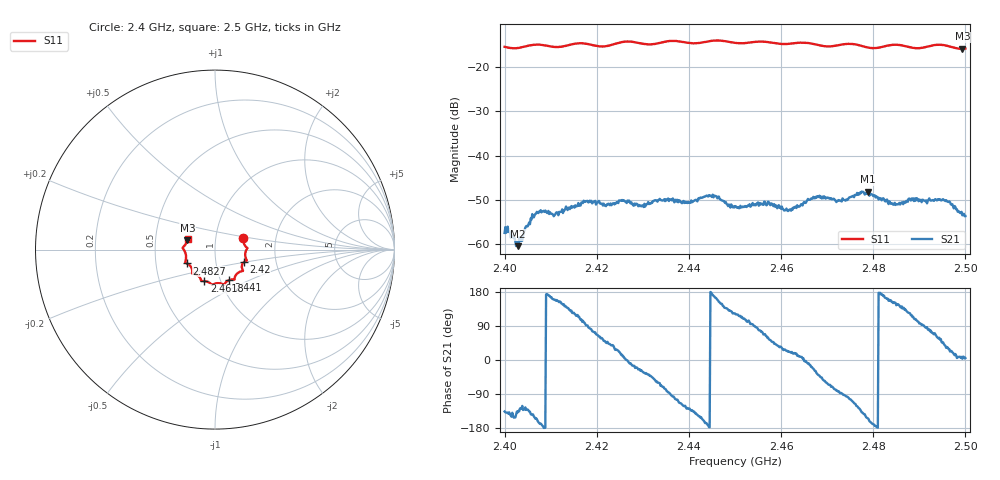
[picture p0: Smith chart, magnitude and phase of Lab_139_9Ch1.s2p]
# Hz S RI R 50
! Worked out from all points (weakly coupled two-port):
!   601 points, 2.4 GHz to 2.5 GHz, reference 50 ohm
!   highest |S21| = -48.15 dB at 2.4788 GHz (marker M1); lowest = -60.5 dB at 2.4028 GHz (marker M2)
!   lowest |S11| = -15.8 dB at 2.4993 GHz (marker M3), VSWR 1.39, Z = 36.5 + j3.84 ohm
!   |S11| at or under -10 dB: start of sweep to end of sweep
!   S12 and S22 are empty: the file has one direction only
!   S11 on the Smith chart (normalised r, x): 2.4 GHz: 1.36, +0.18; 2.42 GHz: 1.36, -0.20; 2.441 GHz: 1.10, -0.39; 2.4618 GHz: 0.84, -0.30; 2.4827 GHz: 0.72, -0.11; 2.5 GHz: 0.73, +0.09
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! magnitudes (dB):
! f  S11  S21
! 2.4 GHz  -15.4  -57.5
! 2.4007 GHz  -15.5  -56.1
! 2.4028 GHz  -15.6  -60.5
! 2.4073 GHz  -14.9  -53.0
! 2.4112 GHz  -15.4  -52.9
! 2.4167 GHz  -14.5  -50.6
! 2.42 GHz  -15.2  -50.8
! 2.4297 GHz  -14.6  -51.5
! 2.4333 GHz  -14.5  -50.1
! 2.441 GHz  -14.6  -50.3
! 2.4455 GHz  -13.9  -49.1
! 2.45 GHz  -14.4  -51.5
! 2.4568 GHz  -14.2  -51.3
! 2.4618 GHz  -14.6  -52.2
! 2.4667 GHz  -14.6  -49.7
! 2.4725 GHz  -15.0  -50.1
! 2.4788 GHz  -15.5  -48.2
! 2.4827 GHz  -15.2  -50.4
! 2.4833 GHz  -15.0  -51.0
! 2.4948 GHz  -14.9  -50.2
! 2.4993 GHz  -15.8  -53.5
! 2.5 GHz  -15.7  -53.7
